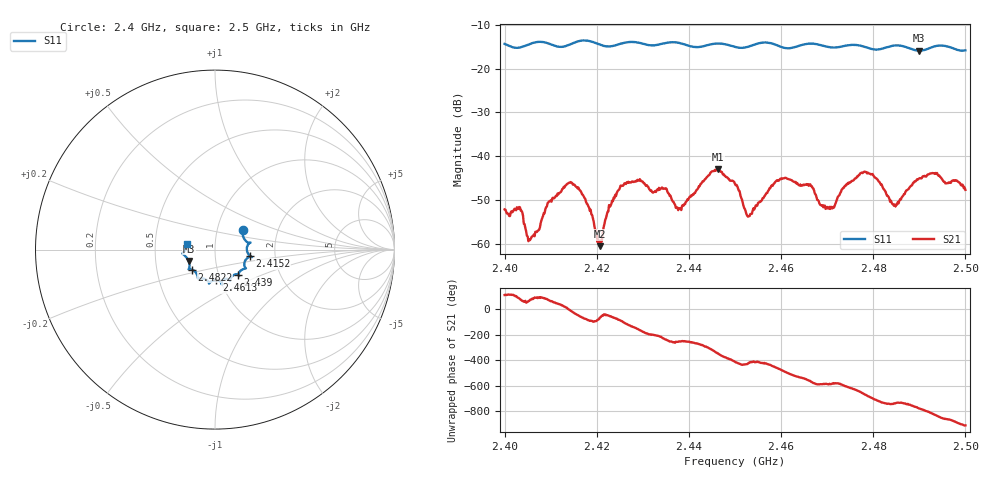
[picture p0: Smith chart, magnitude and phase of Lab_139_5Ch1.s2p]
# Hz S RI R 50
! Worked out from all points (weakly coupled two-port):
!   601 points, 2.4 GHz to 2.5 GHz, reference 50 ohm
!   highest |S21| = -42.89 dB at 2.4463 GHz (marker M1); lowest = -60.5 dB at 2.4207 GHz (marker M2)
!   lowest |S11| = -15.9 dB at 2.49 GHz (marker M3), VSWR 1.38, Z = 36.9 - j4.84 ohm
!   |S11| at or under -10 dB: start of sweep to end of sweep
!   S12 and S22 are empty: the file has one direction only
!   S11 on the Smith chart (normalised r, x): 2.4 GHz: 1.33, +0.31; 2.4152 GHz: 1.48, -0.11; 2.439 GHz: 1.24, -0.36; 2.4613 GHz: 0.96, -0.34; 2.4822 GHz: 0.76, -0.17; 2.5 GHz: 0.73, +0.05
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2.4e9  0.1557 0.1113  -0.000975 0.00229  0 0  0 0
2.403333e9  0.1647 0.0568  0.000448 0.00259  0 0  0 0
2.405667e9  0.1888 0.0374  0.000239 0.00112  0 0  0 0
2.409833e9  0.1883 0.0333  0.00116 0.00286  0 0  0 0
2.415167e9  0.1948 -0.036  0.00406 -0.00246  0 0  0 0
2.416667e9  0.2043 -0.042  0.00194 -0.00334  0 0  0 0
2.420667e9  0.1823 -0.0453  0.00041 -0.000853  0 0  0 0
2.4255e9  0.1675 -0.0989  -0.000228 -0.00462  0 0  0 0
2.433333e9  0.1328 -0.1327  -0.00365 0.00191  0 0  0 0
2.439e9  0.1281 -0.1391  -0.00104 0.00266  0 0  0 0
2.446333e9  0.0849 -0.1739  0.00695 0.00175  0 0  0 0
2.45e9  0.0684 -0.1632  0.00304 -0.00378  0 0  0 0
2.453e9  0.0385 -0.1746  0.000997 -0.00183  0 0  0 0
2.461333e9  0.00774 -0.1706  -0.00414 -0.0037  0 0  0 0
2.466667e9  -0.0331 -0.19  -0.00395 0.0023  0 0  0 0
2.470167e9  -0.0443 -0.1714  -0.00173 0.00187  0 0  0 0
2.477667e9  -0.0965 -0.1521  0.00287 0.00576  0 0  0 0
2.482167e9  -0.1283 -0.1115  0.0042 -0.000949  0 0  0 0
2.483333e9  -0.1394 -0.11  0.00324 -0.00116  0 0  0 0
2.485e9  -0.1471 -0.1103  0.00273 -0.000672  0 0  0 0
2.49e9  -0.1468 -0.0638  0.00302 -0.00473  0 0  0 0
2.5e9  -0.1583 0.0334  -0.00408 0.000741  0 0  0 0
